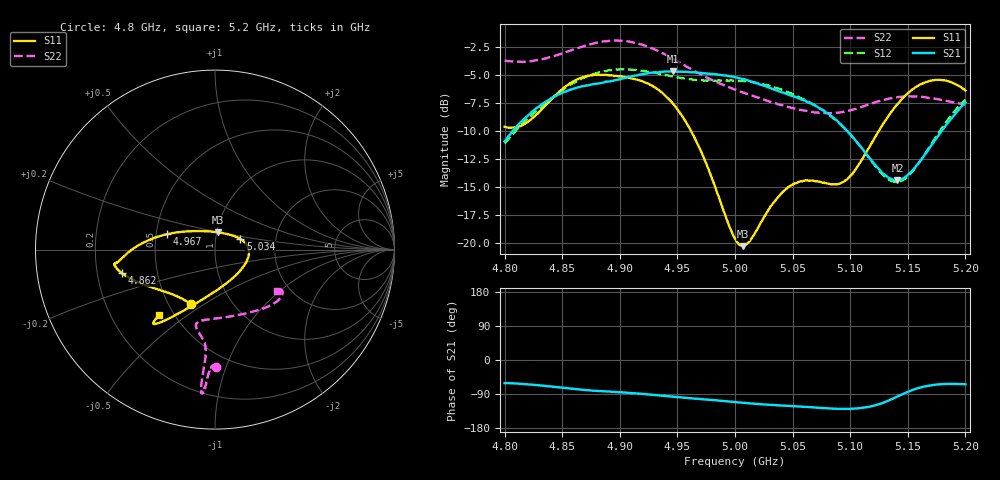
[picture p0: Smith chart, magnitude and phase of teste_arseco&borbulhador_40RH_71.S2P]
! Network Analyzer HP8722D
! Hewlett-Packard
! Data name: Linha & Wilkinson
! Saver's name: Rodrigo Anjos
! Comments: Teste da utilização de aquisição
! continua pelo VNA HP8722D
! Time and date: 15/4/2025 16:56
!  Frequency  S11  S21  S12  S22
# HZ  S  MA R 50
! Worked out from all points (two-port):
!   401 points, 4.8 GHz to 5.2 GHz, reference 50 ohm
!   highest |S21| = -4.65 dB at 4.946 GHz (marker M1); lowest = -14.4 dB at 5.141 GHz (marker M2)
!   |S21| within 3 dB of the highest: 4.831 GHz to 5.069 GHz (237.2 MHz wide, 4.79 % of centre); 5.197922 GHz to end of sweep
!   lowest |S11| = -20.3 dB at 5.007 GHz (marker M3), VSWR 1.21, Z = 50.5 + j9.77 ohm
!   |S11| at or under -10 dB: 4.962 GHz to 5.125 GHz (162.8 MHz wide, 3.23 % of centre)
!   |S22| runs from -8.4 to -1.9 dB; largest |S21 - S12| = 0.88
!   S11 on the Smith chart (normalised r, x): 4.8 GHz: 0.65, -0.44; 4.862 GHz: 0.31, -0.11; 4.967 GHz: 0.57, +0.11; 5.034 GHz: 1.32, +0.16; 5.2 GHz: 0.41, -0.39
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4.8e9  0.3314 -114.0  0.2851 -60.8  0.2784 -175.2  0.6543 -89.6
4.819e9  0.3454 -133.9  0.3668 -64.0  0.3557 -173.5  0.6485 -91.4
4.862e9  0.5364 -165.9  0.4939 -76.8  0.5258 -176.7  0.74 -93.8
4.867e9  0.5495 -167.8  0.5022 -78.5  0.5437 -177.6  0.7538 -93.8
4.898e9  0.5577 -172.3  0.5372 -84.8  0.5967 176.0  0.8041 -95.1
4.934e9  0.4829 -178.2  0.5804 -93.5  0.573 171.8  0.7183 -95.7
4.946e9  0.4206 176.2  0.5857 -97.0  0.5557 172.0  0.668 -95.5
4.967e9  0.2813 162.4  0.578 -102.3  0.5348 173.9  0.5787 -95.1
5e9  0.1051 105.9  0.551 -111.0  0.5332 176.3  0.4848 -99.3
5.007e9  0.09695 81.7  0.542 -112.8  0.5303 176.2  0.4703 -101.0
5.014e9  0.1042 59.4  0.5284 -114.9  0.5259 176.0  0.4578 -102.6
5.034e9  0.1529 22.8  0.4851 -118.9  0.4974 174.8  0.4232 -103.9
5.049e9  0.1811 7.0  0.4547 -121.4  0.4664 174.4  0.4016 -100.6
5.067e9  0.1906 -12.4  0.4187 -125.0  0.4198 173.8  0.3854 -91.7
5.087e9  0.183 -44.8  0.3574 -128.6  0.3565 173.7  0.3822 -76.7
5.097e9  0.1921 -65.9  0.3185 -129.0  0.3186 174.5  0.3889 -68.3
5.134e9  0.3745 -116.5  0.1952 -106.2  0.1915 -158.9  0.4429 -43.4
5.141e9  0.4175 -120.4  0.1911 -96.2  0.1873 -148.0  0.4491 -40.3
5.152e9  0.4769 -124.8  0.2063 -81.6  0.2028 -130.8  0.4527 -36.3
5.17e9  0.5322 -128.9  0.2712 -66.7  0.2757 -112.8  0.4451 -32.2
5.184e9  0.5309 -130.2  0.3412 -63.2  0.352 -107.2  0.4317 -31.2
5.2e9  0.4811 -130.5  0.4258 -64.3  0.4373 -106.2  0.416 -33.5
